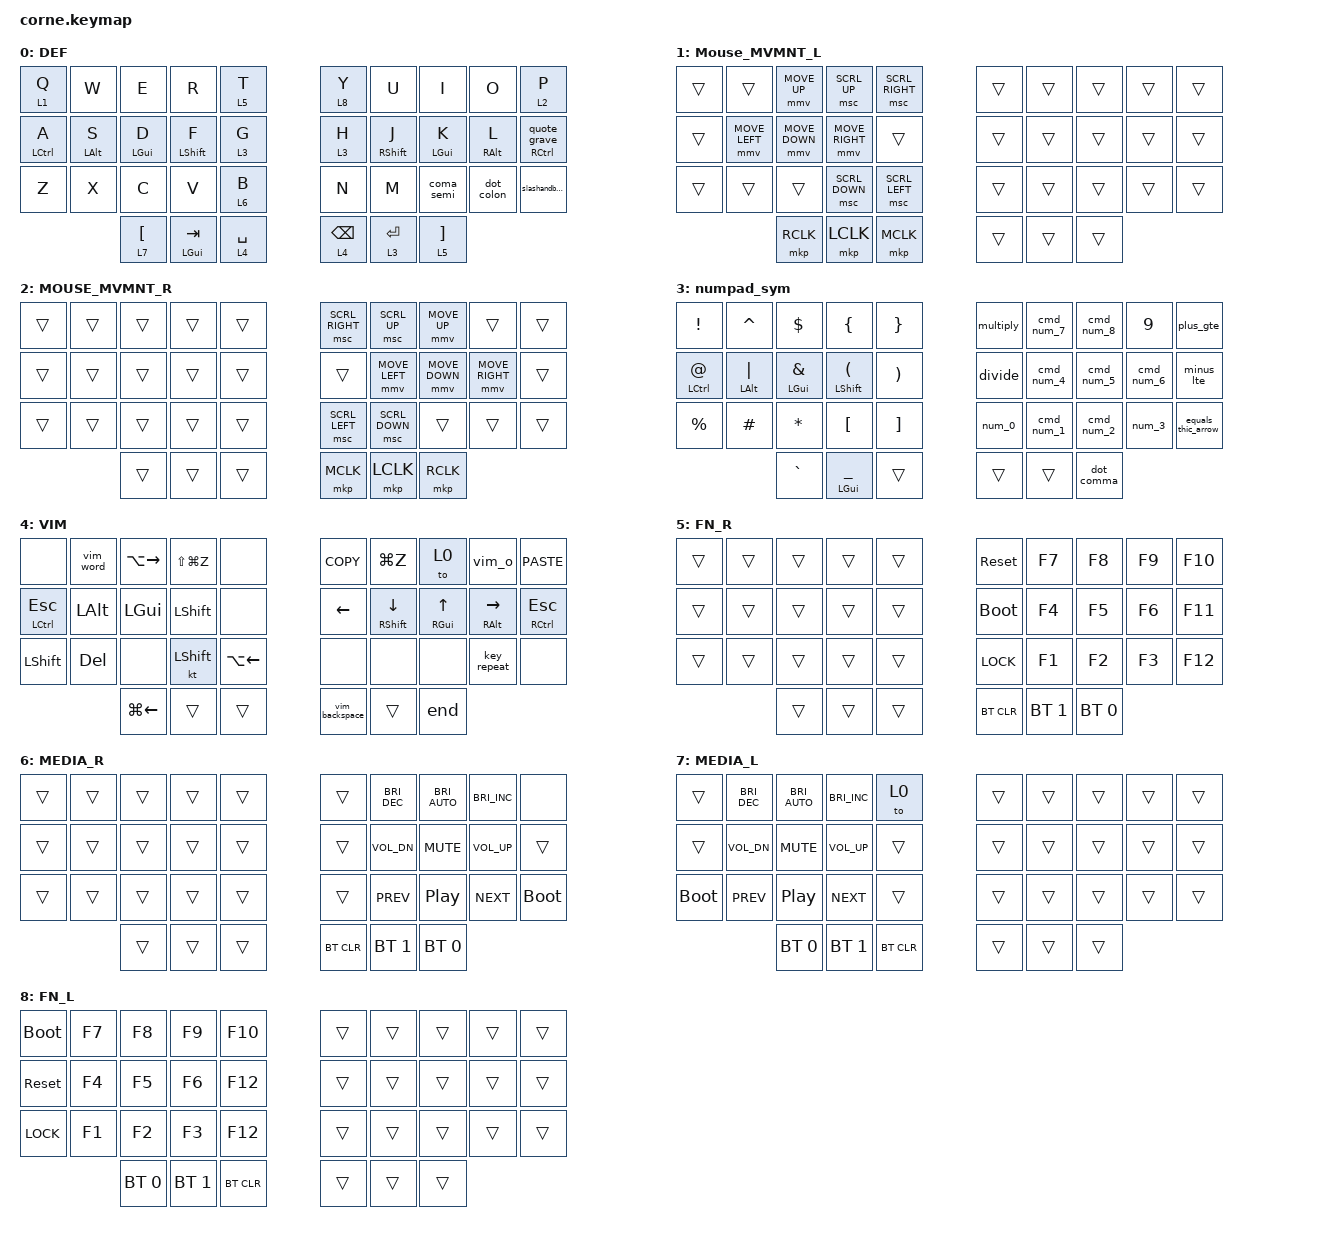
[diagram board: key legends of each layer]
/*
 * Copyright (c) 2020 The ZMK Contributors
 * Custom modifications for keymap done by Ranindu
 * SPDX-License-Identifier: MIT
 */

#include <behaviors.dtsi>
#include <dt-bindings/zmk/bt.h>
#include <dt-bindings/zmk/keys.h>
#include <dt-bindings/zmk/mouse.h>

#define DEFAULT_L 0

&lt {
    quick-tap-ms = <200>;
    tapping-term-ms = <200>;
};

/ {
    chosen { zmk,matrix_transform = &five_column_transform; };

    behaviors {
        hm: homerow_mods {
            compatible = "zmk,behavior-hold-tap";
            label = "HOMEROW_MODS";
            #binding-cells = <2>;
            tapping-term-ms = <150>;
            flavor = "tap-preferred";
            bindings = <&kp>, <&kp>;

            quick-tap-ms = <200>;
        };

        vim_i: vim_i {
            compatible = "zmk,behavior-mod-morph";
            label = "VIM_I";
            bindings = <&to 0>, <&vim_I>;

            #binding-cells = <0>;
            mods = <(MOD_LSFT|MOD_RSFT)>;
        };

        vim_o: vim_o {
            compatible = "zmk,behavior-mod-morph";
            label = "VIM_O";
            bindings = <&next_line_enter>, <&previous_line_enter>;

            #binding-cells = <0>;
            mods = <(MOD_LSFT|MOD_RSFT)>;
        };

        vim_c_r: vim_c_r {
            compatible = "zmk,behavior-mod-morph";
            label = "VIM_C_R";
            #binding-cells = <0>;
            bindings = <&none>, <&kp LG(LS(Z))>;

            mods = <(MOD_LCTL|MOD_RCTL)>;
        };

        vim_backspace: vim_backspace {
            compatible = "zmk,behavior-mod-morph";
            label = "VIM_BACKSPACE";
            bindings = <&kp LA(BACKSPACE)>, <&kp LA(DELETE)>;

            #binding-cells = <0>;
            mods = <(MOD_LALT|MOD_RALT)>;
        };

        slashandbackslash: slashandbackslash {
            compatible = "zmk,behavior-mod-morph";
            label = "SLASHANDBACKSLASH";
            bindings = <&kp SLASH>, <&kp BACKSLASH>;

            #binding-cells = <0>;
            mods = <(MOD_LALT|MOD_RALT)>;
        };

        quote: quote {
            compatible = "zmk,behavior-mod-morph";
            label = "QUOTE";
            bindings = <&kp SINGLE_QUOTE>, <&kp GRAVE>;

            #binding-cells = <0>;
            mods = <(MOD_LALT|MOD_RALT)>;
        };

        coma_semi: coma_semi {
            compatible = "zmk,behavior-mod-morph";
            label = "COMA_SEMI";
            bindings = <&kp COMMA>, <&kp SEMI>;

            #binding-cells = <0>;
            mods = <(MOD_LALT|MOD_RALT)>;
            keep-mods = <(MOD_LSFT|MOD_RSFT)>;
        };

        dot_colon: dot_colon {
            compatible = "zmk,behavior-mod-morph";
            label = "DOT_COLON";
            bindings = <&kp PERIOD>, <&kp COLON>, <&kp LA(COLON)>;

            #binding-cells = <0>;
            mods = <(MOD_LALT|MOD_RALT)>;
            keep-mods = <(MOD_LSFT|MOD_RSFT)>;
        };

        q_grave: q_grave {
            compatible = "zmk,behavior-mod-morph";
            label = "Q_GRAVE";
            bindings = <&kp Q>, <&kp GRAVE>;

            #binding-cells = <0>;
            mods = <(MOD_LALT|MOD_RALT)>;
        };

        home: home {
            compatible = "zmk,behavior-mod-morph";
            label = "HOME";
            bindings = <&kp LG(LEFT)>, <&kp HOME>;

            #binding-cells = <0>;
            mods = <(MOD_LSFT|MOD_RSFT)>;
        };

        end: end {
            compatible = "zmk,behavior-mod-morph";
            label = "END";
            bindings = <&kp LG(RIGHT)>, <&kp END>;

            #binding-cells = <0>;
            mods = <(MOD_LSFT|MOD_RALT)>;
        };

        quote_grave: quote_grave {
            compatible = "zmk,behavior-mod-morph";
            label = "QUOTE_GRAVE";
            bindings = <&kp SINGLE_QUOTE>, <&kp GRAVE>;

            #binding-cells = <0>;
            mods = <(MOD_LALT|MOD_RALT)>;
        };

        hm_quotes: hm_quotes {
            compatible = "zmk,behavior-hold-tap";
            label = "HM_QUOTES";
            bindings = <&kp>, <&quote_grave>;

            #binding-cells = <2>;
            tapping-term-ms = <200>;
            quick-tap-ms = <200>;
            flavor = "tap-preferred";
        };

        dot_comma: dot_comma {
            compatible = "zmk,behavior-mod-morph";
            label = "DOT_COMMA";
            bindings = <&kp DOT>, <&kp COMMA>;

            #binding-cells = <0>;
            mods = <(MOD_LSFT|MOD_RSFT)>;
        };

        multiply: multiply {
            compatible = "zmk,behavior-mod-morph";
            label = "MULTIPLY";
            bindings = <&kp ASTERISK>, <&kp LEFT_BRACE>;

            #binding-cells = <0>;
            mods = <(MOD_LSFT|MOD_RSFT)>;
        };

        divide: divide {
            compatible = "zmk,behavior-mod-morph";
            label = "divide";
            bindings = <&kp SLASH>, <&kp LEFT_PARENTHESIS>;

            #binding-cells = <0>;
            mods = <(MOD_LSFT|MOD_RSFT)>;
        };

        num_7: num_7 {
            compatible = "zmk,behavior-mod-morph";
            label = "num_7";
            bindings = <&kp N7>, <&kp RIGHT_BRACE>;

            #binding-cells = <0>;
            mods = <(MOD_LSFT|MOD_RSFT)>;
        };

        equals_thic_arrow: equals_thic_arrow {
            compatible = "zmk,behavior-mod-morph";
            label = "EQUALS_THIC_ARROW";
            bindings = <&kp EQUAL>, <&thic_arrow>;

            #binding-cells = <0>;
            mods = <(MOD_LSFT|MOD_RSFT)>;
        };

        num_0: num_0 {
            compatible = "zmk,behavior-mod-morph";
            label = "NUM_0";
            #binding-cells = <0>;
            mods = <(MOD_LSFT|MOD_RSFT)>;
            bindings = <&kp N0>, <&kp LEFT_BRACKET>;
        };

        num_1: num_1 {
            compatible = "zmk,behavior-mod-morph";
            label = "NUM_1";
            #binding-cells = <0>;
            mods = <(MOD_LSFT|MOD_RSFT)>;
            bindings = <&kp N1>, <&kp RIGHT_BRACKET>;
        };

        num_2: num_2 {
            compatible = "zmk,behavior-mod-morph";
            label = "NUM_2";
            #binding-cells = <0>;
            mods = <(MOD_LSFT|MOD_RSFT)>;
            bindings = <&kp N2>, <&kp COMMA>;
        };

        num_3: num_3 {
            compatible = "zmk,behavior-mod-morph";
            label = "NUM_3";
            #binding-cells = <0>;
            mods = <(MOD_LSFT|MOD_RSFT)>;
            bindings = <&kp N3>, <&kp DOT>;
        };

        num_5: num_5 {
            compatible = "zmk,behavior-mod-morph";
            label = "NUM_5";
            #binding-cells = <0>;
            mods = <(MOD_LSFT)>;
            bindings = <&hm RIGHT_GUI N5>, <&kp LT>;
        };

        num_6: num_6 {
            compatible = "zmk,behavior-mod-morph";
            label = "NUM_6";
            #binding-cells = <0>;
            mods = <(MOD_LSFT)>;
            bindings = <&hm RIGHT_ALT NUMBER_6>, <&kp GT>;
        };

        hm_quote_minus: hm_quote_minus {
            compatible = "zmk,behavior-mod-morph";
            label = "HM_QUOTE_MINUS";
            #binding-cells = <0>;
            mods = <(MOD_LSFT)>;
            bindings = <&hm RCTRL MINUS>, <&kp DOUBLE_QUOTES>;
        };

        num_4: num_4 {
            compatible = "zmk,behavior-mod-morph";
            label = "NUM_4";
            bindings = <&hm RIGHT_SHIFT N4>, <&kp RIGHT_PARENTHESIS>;

            #binding-cells = <0>;
            mods = <(MOD_LSFT)>;
        };

        always_tilde: always_tilde {
            compatible = "zmk,behavior-mod-morph";
            label = "ALWAYS_TILDE";
            bindings = <&kp LA(N)>, <&kp LA(N)>;

            #binding-cells = <0>;
            mods = <(MOD_LSFT|MOD_RSFT)>;
        };

        num_8: num_8 {
            compatible = "zmk,behavior-mod-morph";
            label = "NUM_8";
            bindings = <&kp N8>, <&kp LA(LS(NUMBER_2))>;

            #binding-cells = <0>;
            mods = <(MOD_LSFT|MOD_RSFT)>;
        };

        w_euro: w_euro {
            compatible = "zmk,behavior-mod-morph";
            label = "W_EURO";
            bindings = <&kp W>, <&kp LS(LA(NUMBER_2))>;

            #binding-cells = <0>;
            mods = <(MOD_LALT|MOD_RALT)>;
        };

        a_grave_ctrl: a_grave_ctrl {
            compatible = "zmk,behavior-mod-morph";
            label = "A_GRAVE_CTRL";
            bindings = <&hm LCTRL A>, <&kp A>;

            #binding-cells = <0>;
            mods = <(MOD_LALT|MOD_RALT)>;
        };

        always_grave: always_grave {
            compatible = "zmk,behavior-mod-morph";
            label = "ALWAYS_GRAVE";
            bindings = <&kp GRAVE>, <&kp GRAVE>;

            #binding-cells = <0>;
            mods = <(MOD_LSFT|MOD_RSFT)>;
        };

        always_acute: always_acute {
            compatible = "zmk,behavior-mod-morph";
            label = "ALWAYS_ACUTE";
            bindings = <&kp LA(E)>, <&kp LA(E)>;

            #binding-cells = <0>;
            mods = <(MOD_LALT|MOD_LSFT|MOD_RSFT)>;
        };

        always_circ: always_circ {
            compatible = "zmk,behavior-mod-morph";
            label = "ALWAYS_CIRC";
            bindings = <&kp LA(I)>, <&kp LA(I)>;

            #binding-cells = <0>;
            mods = <(MOD_LSFT|MOD_RSFT)>;
        };

        cmd_num_4: cmd_num_4 {
            compatible = "zmk,behavior-mod-morph";
            label = "CMD_NUM_4";
            bindings = <&num_4>, <&kp NUMBER_4>;

            #binding-cells = <0>;
            mods = <(MOD_LGUI|MOD_RGUI)>;
            keep-mods = <(MOD_RGUI|MOD_LGUI)>;
        };

        cmd_num_5: cmd_num_5 {
            compatible = "zmk,behavior-mod-morph";
            label = "CMD_NUM_5";
            bindings = <&num_5>, <&kp N5>;

            #binding-cells = <0>;
            mods = <(MOD_LGUI|MOD_RGUI)>;
            keep-mods = <(MOD_RGUI|MOD_LGUI)>;
        };

        cmd_num_1: cmd_num_1 {
            compatible = "zmk,behavior-mod-morph";
            label = "CMD_NUM_1";
            bindings = <&num_1>, <&kp NUMBER_1>;

            #binding-cells = <0>;
            mods = <(MOD_LGUI|MOD_RGUI)>;
            keep-mods = <(MOD_RGUI|MOD_LGUI)>;
        };

        cmd_num_3: cmd_num_3 {
            compatible = "zmk,behavior-mod-morph";
            label = "CMD_NUM_3";
            bindings = <&num_3>, <&kp NUMBER_3>;

            #binding-cells = <0>;
            mods = <(MOD_LGUI|MOD_RGUI)>;
            keep-mods = <(MOD_RGUI|MOD_LGUI)>;
        };

        cmd_num_2: cmd_num_2 {
            compatible = "zmk,behavior-mod-morph";
            label = "CMD_NUM_2";
            bindings = <&num_2>, <&kp NUMBER_2>;

            #binding-cells = <0>;
            mods = <(MOD_LGUI|MOD_RGUI)>;
            keep-mods = <(MOD_RGUI|MOD_LGUI)>;
        };

        cmd_num_6: cmd_num_6 {
            compatible = "zmk,behavior-mod-morph";
            label = "CMD_NUM_6";
            bindings = <&num_6>, <&kp NUMBER_6>;

            #binding-cells = <0>;
            mods = <(MOD_LGUI|MOD_RGUI)>;
            keep-mods = <(MOD_RGUI|MOD_LGUI)>;
        };

        cmd_num_7: cmd_num_7 {
            compatible = "zmk,behavior-mod-morph";
            label = "CMD_NUM_7";
            bindings = <&num_7>, <&kp N7>;

            #binding-cells = <0>;
            mods = <(MOD_LGUI|MOD_RGUI)>;
            keep-mods = <(MOD_RGUI|MOD_LGUI)>;
        };

        cmd_num_8: cmd_num_8 {
            compatible = "zmk,behavior-mod-morph";
            label = "CMD_NUM_8";
            bindings = <&num_8>, <&kp N8>;

            #binding-cells = <0>;
            mods = <(MOD_LGUI|MOD_RGUI)>;
            keep-mods = <(MOD_RGUI|MOD_LGUI)>;
        };

        shift_tap: shift_tap {
            compatible = "zmk,behavior-hold-tap";
            label = "SHIFT_TAP";
            bindings = <&kp>, <&kp>;

            #binding-cells = <2>;
            tapping-term-ms = <150>;
            flavor = "tap-preferred";
            quick-tap-ms = <200>;
        };

        plus_gte: plus_gte {
            compatible = "zmk,behavior-mod-morph";
            label = "PLUS_GTE";
            bindings = <&kp PLUS>, <&gte>;

            #binding-cells = <0>;
            mods = <(MOD_LSFT|MOD_RSFT)>;
        };

        minus_lte: minus_lte {
            compatible = "zmk,behavior-mod-morph";
            label = "MINUS_LTE";
            bindings = <&kp MINUS>, <&lte>;

            #binding-cells = <0>;
            mods = <(MOD_LSFT|MOD_RSFT)>;
        };

        p_question: p_question {
            compatible = "zmk,behavior-mod-morph";
            label = "P_QUESTION";
            bindings = <&kp P>, <&kp QUESTION>;

            #binding-cells = <0>;
            mods = <(MOD_LALT|MOD_RALT)>;
        };

        switch_layout: switch_layout {
            compatible = "zmk,behavior-tap-dance";
            label = "SWITCH_LAYOUT";
            #binding-cells = <0>;
            bindings = <&to 0>, <&to 0>;
        };
    };

    macros {
        vim_word: vim_word {
            compatible = "zmk,behavior-macro";
            label = "VIM_WORD";
            #binding-cells = <0>;
            bindings = <&kp LA(RIGHT) &kp LA(RIGHT) &kp LA(LEFT)>;
        };

        previous_line_enter: previous_line_enter {
            compatible = "zmk,behavior-macro";
            label = "PREVIOUS_LINE_ENTER";
            #binding-cells = <0>;
            bindings = <&kp LG(LEFT) &kp LS(ENTER) &kp LEFT>;
        };

        vim_I: vim_I {
            compatible = "zmk,behavior-macro";
            label = "VIM_I";
            #binding-cells = <0>;
            bindings = <&kp LG(LEFT_ARROW) &to 0>;
        };

        esc_0: esc_0 {
            compatible = "zmk,behavior-macro";
            label = "ESC_0";
            #binding-cells = <0>;
            bindings = <&to 0 &kp ESCAPE>;
        };

        next_line_enter: next_line_enter {
            compatible = "zmk,behavior-macro";
            label = "NEXT_LINE_ENTER";
            #binding-cells = <0>;
            bindings = <&kp LG(RIGHT) &kp ENTER>;
        };

        thic_arrow: thic_arrow {
            compatible = "zmk,behavior-macro";
            #binding-cells = <0>;
            bindings = <&kp EQUAL &kp GT>;
            label = "THIC_ARROW";
        };

        thin_arrow: thin_arrow {
            compatible = "zmk,behavior-macro";
            #binding-cells = <0>;
            bindings = <&kp MINUS &kp GT>;
            label = "THIN_ARROW";
        };

        agrave: agrave {
            compatible = "zmk,behavior-macro";
            #binding-cells = <0>;
            bindings = <&always_grave &kp A>;
            label = "AGRAVE";
        };

        gte: gte {
            compatible = "zmk,behavior-macro";
            #binding-cells = <0>;
            bindings = <&kp GT &kp EQUAL>;
            label = "GTE";
        };

        lte: lte {
            compatible = "zmk,behavior-macro";
            #binding-cells = <0>;
            bindings = <&kp LT &kp EQUAL>;
            label = "LTE";
        };
    };

    combos {
        compatible = "zmk,combos";

        RESET {
            bindings = <&esc_0>;
            key-positions = <12 17>;
        };

        toggle_shift {
            bindings = <&caps_word>;
            key-positions = <16 13>;
        };

        RESET_w {
            bindings = <&esc_0>;
            key-positions = <14 15>;
        };
    };

    keymap {
        compatible = "zmk,keymap";

        default_layer {
            label = "DEF";
            bindings = <
  &lt 1 Q      &kp W           &kp E               &kp R                    &lt 5 T        &lt 8 Y          &kp U                     &kp I                &kp O            &lt 2 P
  &hm LCTRL A  &hm LEFT_ALT S  &hm LEFT_GUI D      &shift_tap LEFT_SHIFT F  &lt 3 G        &lt 3 H          &shift_tap RIGHT_SHIFT J  &hm LEFT_GUI K       &hm RIGHT_ALT L  &hm_quotes RCTRL 0
  &kp Z        &kp X           &kp C               &kp V                    &lt 6 B        &kp N            &kp M                     &coma_semi           &dot_colon       &slashandbackslash
                               &lt 7 LEFT_BRACKET  &hm LEFT_GUI TAB         &lt 4 SPACE    &lt 4 BACKSPACE  &lt 3 ENTER               &lt 5 RIGHT_BRACKET
            >;
        };

        Mouse_MVMNT_L {
            bindings = <
  &trans  &trans          &mmv MOVE_UP    &msc SCRL_UP     &msc SCRL_RIGHT    &trans  &trans  &trans  &trans  &trans
  &trans  &mmv MOVE_LEFT  &mmv MOVE_DOWN  &mmv MOVE_RIGHT  &trans             &trans  &trans  &trans  &trans  &trans
  &trans  &trans          &trans          &msc SCRL_DOWN   &msc SCRL_LEFT     &trans  &trans  &trans  &trans  &trans
                          &mkp RCLK       &mkp LCLK        &mkp MCLK          &trans  &trans  &trans
            >;
        };

        MOUSE_MVMNT_R {
            bindings = <
  &trans  &trans  &trans  &trans  &trans    &msc SCRL_RIGHT  &msc SCRL_UP    &mmv MOVE_UP    &trans           &trans
  &trans  &trans  &trans  &trans  &trans    &trans           &mmv MOVE_LEFT  &mmv MOVE_DOWN  &mmv MOVE_RIGHT  &trans
  &trans  &trans  &trans  &trans  &trans    &msc SCRL_LEFT   &msc SCRL_DOWN  &trans          &trans           &trans
                  &trans  &trans  &trans    &mkp MCLK        &mkp LCLK       &mkp RCLK
            >;
        };

        numpad_sym {
            bindings = <
  &kp EXCLAMATION  &kp CARET      &kp DOLLAR          &kp LEFT_BRACE              &kp RIGHT_BRACE          &multiply  &cmd_num_7  &cmd_num_8  &kp NUMBER_9  &plus_gte
  &hm LCTRL AT     &hm LALT PIPE  &hm LGUI AMPERSAND  &hm LSHFT LEFT_PARENTHESIS  &kp RIGHT_PARENTHESIS    &divide    &cmd_num_4  &cmd_num_5  &cmd_num_6    &minus_lte
  &kp PERCENT      &kp HASH       &kp ASTERISK        &kp LEFT_BRACKET            &kp RBKT                 &num_0     &cmd_num_1  &cmd_num_2  &num_3        &equals_thic_arrow
                                  &kp GRAVE           &mt LEFT_GUI UNDERSCORE     &trans                   &trans     &trans      &dot_comma
            >;
        };

        VIM {
            bindings = <
  &none                    &vim_word   &kp LA(RIGHT)  &kp LS(LG(Z))   &none           &kp K_COPY      &kp LG(Z)             &to 0                   &vim_o               &kp K_PASTE
  &hm LEFT_CONTROL ESCAPE  &kp LALT    &kp LEFT_GUI   &kp LEFT_SHIFT  &none           &kp LEFT        &hm RIGHT_SHIFT DOWN  &hm RIGHT_GUI UP_ARROW  &hm RIGHT_ALT RIGHT  &hm RCTRL ESCAPE
  &kp LEFT_SHIFT           &kp DELETE  &none          &kt LEFT_SHIFT  &kp LA(LEFT)    &none           &none                 &none                   &key_repeat          &none
                                       &kp LG(LEFT)   &trans          &trans          &vim_backspace  &trans                &end
            >;
        };

        FN_R {
            bindings = <
  &trans  &trans  &trans  &trans  &trans    &sys_reset   &kp F7        &kp F8        &kp F9  &kp F10
  &trans  &trans  &trans  &trans  &trans    &bootloader  &kp F4        &kp F5        &kp F6  &kp F11
  &trans  &trans  &trans  &trans  &trans    &kp K_LOCK   &kp F1        &kp F2        &kp F3  &kp F12
                  &trans  &trans  &trans    &bt BT_CLR   &bt BT_SEL 1  &bt BT_SEL 0
            >;
        };

        MEDIA_R {
            bindings = <
  &trans  &trans  &trans  &trans  &trans    &trans      &kp C_BRIGHTNESS_DEC  &kp C_BRIGHTNESS_AUTO  &kp C_BRIGHTNESS_INC  &none
  &trans  &trans  &trans  &trans  &trans    &trans      &kp C_VOL_DN          &kp C_MUTE             &kp C_VOL_UP          &trans
  &trans  &trans  &trans  &trans  &trans    &trans      &kp C_PREV            &kp C_PLAY_PAUSE       &kp C_NEXT            &bootloader
                  &trans  &trans  &trans    &bt BT_CLR  &bt BT_SEL 1          &bt BT_SEL 0
            >;
        };

        MEDIA_L {
            bindings = <
  &trans       &kp C_BRIGHTNESS_DEC  &kp C_BRIGHTNESS_AUTO  &kp C_BRIGHTNESS_INC  &to 0         &trans  &trans  &trans  &trans  &trans
  &trans       &kp C_VOL_DN          &kp C_MUTE             &kp C_VOL_UP          &trans        &trans  &trans  &trans  &trans  &trans
  &bootloader  &kp C_PREV            &kp C_PLAY_PAUSE       &kp C_NEXT            &trans        &trans  &trans  &trans  &trans  &trans
                                     &bt BT_SEL 0           &bt BT_SEL 1          &bt BT_CLR    &trans  &trans  &trans
            >;
        };

        FN_L {
            bindings = <
  &bootloader  &kp F7  &kp F8        &kp F9        &kp F10       &trans  &trans  &trans  &trans  &trans
  &sys_reset   &kp F4  &kp F5        &kp F6        &kp F12       &trans  &trans  &trans  &trans  &trans
  &kp K_LOCK   &kp F1  &kp F2        &kp F3        &kp F12       &trans  &trans  &trans  &trans  &trans
                       &bt BT_SEL 0  &bt BT_SEL 1  &bt BT_CLR    &trans  &trans  &trans
            >;
        };
    };
};
